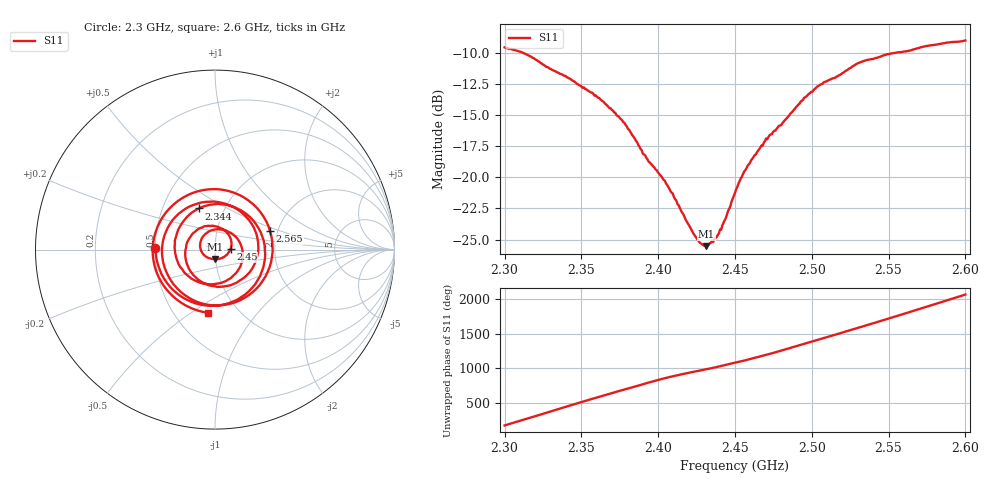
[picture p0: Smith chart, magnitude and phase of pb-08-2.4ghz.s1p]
! NanoVNA-App
! Date: 2026-05-22 17:29:33
! Start: 2.3GHz Stop: 2.6GHz Points: 401
! S-Parameter data: F S11
# Hz S RI R 50
!  Frequency  S11_Real  S11_Imag
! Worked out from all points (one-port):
!   401 points, 2.3 GHz to 2.6 GHz, reference 50 ohm
!   lowest |S11| = -25.5 dB at 2.431 GHz (marker M1), VSWR 1.11, Z = 49.7 - j5.27 ohm
!   |S11| at or under -10 dB: 2.312 GHz to 2.555 GHz (242.8 MHz wide, 9.98 % of centre)
!   S11 on the Smith chart (normalised r, x): 2.3 GHz: 0.50, +0.01; 2.344 GHz: 0.76, +0.37; 2.45 GHz: 1.19, +0.01; 2.565 GHz: 1.82, +0.43; 2.6 GHz: 0.73, -0.58
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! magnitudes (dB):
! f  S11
! 2.3 GHz  -9.6
! 2.314 GHz  -10.1
! 2.337 GHz  -11.7
! 2.344 GHz  -12.2
! 2.363 GHz  -13.8
! 2.375 GHz  -15.2
! 2.38 GHz  -15.9
! 2.394 GHz  -18.7
! 2.404 GHz  -20.2
! 2.413 GHz  -22.1
! 2.425 GHz  -24.8
! 2.428 GHz  -25.3
! 2.431 GHz  -25.5
! 2.437 GHz  -24.9
! 2.439 GHz  -24.5
! 2.442 GHz  -23.7
! 2.45 GHz  -21.3
! 2.457 GHz  -19.4
! 2.466 GHz  -17.7
! 2.472 GHz  -16.8
! 2.487 GHz  -14.7
! 2.494 GHz  -13.8
! 2.504 GHz  -12.7
! 2.525 GHz  -11.2
! 2.535 GHz  -10.6
! 2.562 GHz  -9.9
! 2.565 GHz  -9.8
! 2.6 GHz  -9.0
